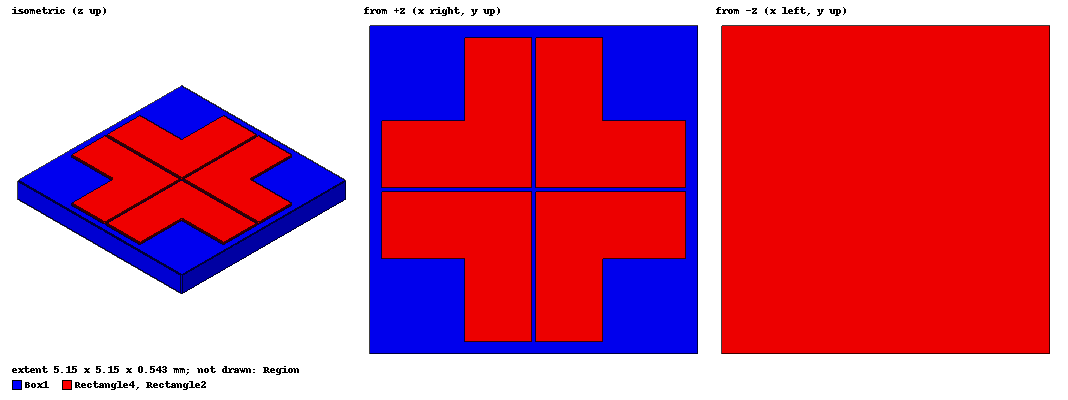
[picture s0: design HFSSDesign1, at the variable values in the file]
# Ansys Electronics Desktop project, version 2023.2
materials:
  vacuum: permittivity=1
  Rogers RT/duroid 5880 (tm): permittivity=2.2 dielectric_loss_tangent=0.0009
  pec: conductivity=1e+30
  copper: permeability=0.999991 conductivity=58000000
  Rogers RO4003 (tm): permittivity=3.55 dielectric_loss_tangent=0.0027
  Rogers RO4003 (tm)_Paper: permittivity=3.38 dielectric_loss_tangent=0.0027
  air: permittivity=1.0006 permeability=1.0000004

design HFSSDesign1 (HFSS, HFSS Modal Network, model units mm)
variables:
  Xsize = 5.15mm
  Ysize = 5.15mm
  H = 0.508mm
  X_size = (armL + Sep)
  Y_size = (armW+Sep)
  Sep = 0.05mm*scale
  armL = 4.5mm*scale
  armW = 2.mm*scale
  scale = 1.05
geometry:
  Region [vacuum] = region(absolute_offset: +X=0mm, -X=0mm, +Y=0mm, -Y=0mm, +Z=10mm, -Z=10mm)
  Rectangle2 = rectangle(corner=(0mm, 0mm, 0mm), x_size=Xsize, y_size=-Ysize)
  Box1 [Rogers RO4003 (tm)_Paper] = box(corner=(0mm, 0mm, 0mm), size=(XSize, -YSize, H))
  Rectangle3 = rectangle(corner=(Xsize/2 - X_size/2, -Ysize /2-Y_size/2, H), x_size=X_size, y_size=Y_size)
  Rectangle4 [vacuum] = rectangle(corner=(Ysize /2 - Y_size/2, -Xsize/2-X_size/2, H), x_size=Y_size, y_size=X_size)
  Rectangle4.unite(Rectangle3)
  Rectangle5 = rectangle(corner=(Ysize /2 - Sep/2, -Xsize/2-X_size/2, H), x_size=Sep, y_size=X_size)
  Rectangle6 = rectangle(corner=(Xsize/2 - X_size/2, -Ysize/2-Sep/2, H), x_size=X_size, y_size=Sep)
  Rectangle5.unite(Rectangle6)
  Rectangle4.subtract(Rectangle5)
  Rectangle4.thicken(0.035mm)
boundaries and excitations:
  Primary1: Primary Faces=Region.face(+x) CoordSysVector{(5.15, -5.15, 10.543) -> (5.15, 0, 10.543)}
  Primary2: Primary Faces=Region.face(+y) CoordSysVector{(5.15, 0, 10.543) -> (0, 0, 10.543)}
  Secondary1: Secondary Faces=Region.face(-y) CoordSysVector{(5.15, -5.15, 10.543) -> (0, -5.15, 10.543)} ReverseV primary=Primary2 PhaseDelay=UseScanAngle Phi=0deg Theta=0deg
  Secondary2: Secondary Faces=Region.face(-x) CoordSysVector{(0, -5.15, 10.543) -> (0, 0, 10.543)} ReverseV primary=Primary1 PhaseDelay=UseScanAngle Phi=0deg Theta=0deg
  PerfE1: Perfect E Objects=Rectangle2
  PerfE2: Perfect E Objects=Rectangle4
  FloquetPort1: Floquet Port Faces=Region.face(+z) NumModes=2 DeembedDist=10mm Modes{Mode1{CharImp=Zpi} Mode2{CharImp=Zpi}} PhaseDelay=UseScanAngle Phi=0deg Theta=0deg LatticeAVector{(5.15, -5.15, 10.543) -> (5.15, 0, 10.543)} LatticeBVector{(5.15, -5.15, 10.543) -> (0, -5.15, 10.543)} ModesList{Mode{ModeNumber=1 IndexM=0 IndexN=0 KC2=0 PropagationState=Propagating Attenuation=0 PolarizationState=TE AffectsRefinement} Mode{ModeNumber=2 IndexM=0 IndexN=0 KC2=0 PropagationState=Propagating Attenuation=0 PolarizationState=TM AffectsRefinement}}
  FloquetPort2: Floquet Port Faces=Region.face(-z) NumModes=2 DeembedDist=10mm Modes{Mode1{CharImp=Zpi} Mode2{CharImp=Zpi}} PhaseDelay=UseScanAngle Phi=0deg Theta=0deg LatticeAVector{(5.15, -5.15, -10) -> (5.15, 0, -10)} LatticeBVector{(5.15, -5.15, -10) -> (0, -5.15, -10)} ModesList{Mode{ModeNumber=1 IndexM=0 IndexN=0 KC2=0 PropagationState=Propagating Attenuation=0 PolarizationState=TE AffectsRefinement} Mode{ModeNumber=2 IndexM=0 IndexN=0 KC2=0 PropagationState=Propagating Attenuation=0 PolarizationState=TM AffectsRefinement}}
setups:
  Setup1: HfssDriven Frequency=76.5GHz MaxDeltaS=0.02 MaximumPasses=6 MinimumPasses=2 MinimumConvergedPasses=2 PercentRefinement=30 BasisOrder=1 PortAccuracy=2 DrivenSolverType="Direct Solver"
    sweep Sweep: 75GHz to 78GHz step 0.03GHz; Type=Interpolating InterpTolerance=0.5 InterpMaxSolns=250 InterpUsePortImped=false PassivityErrorTolerance=0.0001
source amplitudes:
  FloquetPort1:1: 1W 0deg
  FloquetPort1:2, FloquetPort2:1, FloquetPort2:2: 0W 0deg
